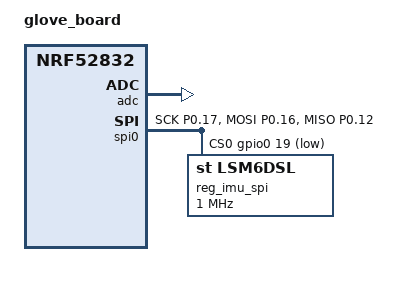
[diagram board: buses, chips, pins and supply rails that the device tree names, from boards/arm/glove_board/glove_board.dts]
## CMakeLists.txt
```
cmake_minimum_required(VERSION 3.20.0)
find_package(Zephyr REQUIRED HINTS $ENV{ZEPHYR_BASE})

project(sensor_code)

target_include_directories(app PRIVATE inc)
target_sources(app PRIVATE src/main.c src/ble.c src/imu.c src/adc.c)
```

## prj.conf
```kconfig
CONFIG_HEAP_MEM_POOL_SIZE=2048

CONFIG_BT=y
CONFIG_BT_SMP=y
CONFIG_BT_NUS=y
CONFIG_BT_PERIPHERAL=y
CONFIG_BT_DEVICE_NAME="gloves"
CONFIG_BT_DEVICE_APPEARANCE=833
CONFIG_BT_MAX_CONN=2
CONFIG_BT_MAX_PAIRED=2
CONFIG_BT_GATT_CLIENT=y
CONFIG_BT_GATT_DM=y

# CONFIG_BT_BUF_ACL_RX_SIZE = 64
# CONFIG_BT_BUF_ACL_TX_SIZE = 64
# CONFIG_BT_L2CAP_TX_MTU = 60

# This example requires more stack
CONFIG_SYSTEM_WORKQUEUE_STACK_SIZE=2048
CONFIG_MAIN_STACK_SIZE=1536

# Enable bonding
# CONFIG_BT_SETTINGS=y
# CONFIG_FLASH=y
# CONFIG_FLASH_PAGE_LAYOUT=y
# CONFIG_FLASH_MAP=y
# CONFIG_NVS=y
# CONFIG_SETTINGS=y

CONFIG_ASSERT=y

CONFIG_CLOCK_CONTROL_NRF_K32SRC_SYNTH=y

CONFIG_BT_USER_DATA_LEN_UPDATE=y
CONFIG_BT_USER_PHY_UPDATE=y
CONFIG_BT_GAP_AUTO_UPDATE_CONN_PARAMS=n

CONFIG_BT_BUF_ACL_RX_SIZE=502
CONFIG_BT_ATT_PREPARE_COUNT=2
CONFIG_BT_L2CAP_TX_BUF_COUNT=10
CONFIG_BT_L2CAP_TX_MTU=498
CONFIG_BT_L2CAP_DYNAMIC_CHANNEL=y
CONFIG_BT_CONN_TX_MAX=10
CONFIG_BT_BUF_ACL_TX_COUNT=10
CONFIG_BT_BUF_ACL_TX_SIZE=502

CONFIG_BT_CTLR_DATA_LENGTH_MAX=251
CONFIG_BT_CTLR_PHY_2M=y
CONFIG_BT_CTLR_PHY_CODED=y
CONFIG_BT_CTLR_SDC_MAX_CONN_EVENT_LEN_DEFAULT=4000000

# SPI
CONFIG_SPI=y

CONFIG_NRFX_GPIOTE0=y
CONFIG_NRFX_SAADC=y
```

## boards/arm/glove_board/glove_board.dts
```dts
// Copyright (c) 2024 Nordic Semiconductor ASA
// SPDX-License-Identifier: Apache-2.0

/dts-v1/;
#include <nordic/nrf52832_qfaa.dtsi>
#include <zephyr/dt-bindings/input/input-event-codes.h>

// Pin Mappings
&pinctrl {
    spi0_default: spi0_default {
        group1 {
            psels = <NRF_PSEL(SPIM_SCK, 0, 17)>,
                    <NRF_PSEL(SPIM_MOSI, 0, 16)>,
                    <NRF_PSEL(SPIM_MISO, 0, 12)>;
        };
    };

    spi0_sleep: spi0_sleep {
        group1 {
            psels = <NRF_PSEL(SPIM_SCK, 0, 17)>,
                    <NRF_PSEL(SPIM_MOSI, 0, 16)>,
                    <NRF_PSEL(SPIM_MISO, 0, 12)>;
            low-power-enable;
        };
    };
};

// Other configurations

/ {
	model = "glove_board";
	compatible = "block,glove-board";

	chosen {
		zephyr,sram = &sram0;
		zephyr,flash = &flash0;
		zephyr,code-partition = &slot0_partition;
	};
};

&adc {
	status = "okay";
};

&uicr {
	gpio-as-nreset;
};

&gpiote {
	status = "okay";
};

&gpio0 {
	status = "okay";
};

&flash0 {
	partitions {
		compatible = "fixed-partitions";
		#address-cells = <1>;
		#size-cells = <1>;

		boot_partition: partition@0 {
			label = "mcuboot";
			reg = <0x0 0xc000>;
		};
		slot0_partition: partition@c000 {
			label = "image-0";
			reg = <0xc000 0x32000>;
		};
		slot1_partition: partition@3e000 {
			label = "image-1";
			reg = <0x3e000 0x32000>;
		};
		scratch_partition: partition@70000 {
			label = "image-scratch";
			reg = <0x70000 0xa000>;
		};
		storage_partition: partition@7a000 {
			label = "storage";
			reg = <0x7a000 0x6000>;
		};
	};
};

imu_spi: &spi0 {
    compatible = "nordic,nrf-spi";
    status = "okay";
    pinctrl-0 = <&spi0_default>;
    pinctrl-1 = <&spi0_sleep>;
	pinctrl-names = "default", "sleep";
    cs-gpios = <&gpio0 19 GPIO_ACTIVE_LOW>;
    reg_imu_spi: spi-dev-a@0 {
        compatible = "st,lsm6dsl"; // We actually use the lsm6dsr, but I think this should be fine.
		reg = <0>;
		spi-max-frequency = <1000000>;
    };
};
```

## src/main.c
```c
#include <zephyr/kernel.h>

#include "ble.h"
#include "imu.h"
#include "adc.h"

#define SAMPLES_PER_PKT 4
static uint16_t pkt_id = 0;
static size_t sample_cnt = 0;

static ble_data_t data[SAMPLES_PER_PKT];

void app_loop(struct k_work *work)
{
    ARG_UNUSED(work);

    // Update the readings
    imu_get(&data[sample_cnt].imu_data);
    read_force_sensors(&data[sample_cnt].force_data);

    data[sample_cnt].pkt_id = pkt_id++;
    sample_cnt++;

    if(sample_cnt >= SAMPLES_PER_PKT) {
        sample_cnt = 0;

        // Wait for the previous message to finish sending
        // ble_wait_for_tx_completion();
        if (ble_is_sending_data())
            return;

        ble_send_data(&data, SAMPLES_PER_PKT);
    }
}
K_WORK_DEFINE(app, app_loop);

void timer_handler(struct k_timer *unused)
{
    ARG_UNUSED(unused);
    k_work_submit(&app);
}
K_TIMER_DEFINE(app_timer, timer_handler, NULL);

int main(void)
{
    // Set up the ADC, IMU, and BLE modules, in that order
    adc_init();
    imu_init();
    ble_init();

    // Start the periodic timer
    k_timer_start(&app_timer, K_SECONDS(0), K_MSEC(100));

    return 0;
}
```

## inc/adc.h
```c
/**
 * @file adc.h
 * @author Charles Block (coblock2@illinois.edu)
 * @brief The ADC driver handles all aspects of reading the raw values from the force sensors.
 * @version 0.1
 *
 * @copyright Copyright (c) 2024
 *
 */
#pragma once

#include <stdint.h>

// Specify valid sensors to be read from. The total number of valid
// force sensors is given by NUM_FORCE_SENSORS
typedef enum sensor_position
{
    THUMB_SENSOR = 7,
    INDEX_SENSOR = 0,
    MIDDLE_SENSOR = 1,
    RING_SENSOR = 2,
    // LITTLE_SENSOR, // Currently unused
    PALM1_SENSOR = 5,
    PALM2_SENSOR = 6,
} sensor_position_t;

#define NUM_FORCE_SENSORS 6



// The force sensor measurements
typedef struct force_data {
    uint16_t thumb_sensor;
    uint16_t index_sensor;
    uint16_t middle_sensor;
    uint16_t ring_sensor;
    uint16_t palm1_sensor;
    uint16_t palm2_sensor;
} force_data_t;

/**
 * Initialize the ADC
 */
void adc_init();

/**
 * Read the value of a force sensor at a given position
 *
 * @param pos The position of the sensor to read from
 */
void read_force_sensors(force_data_t *data);
```

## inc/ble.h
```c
/**
 * @file ble.h
 * @author Charles Block (coblock2@illinois.edu)
 * @brief The BLE driver handles all aspects of transmission/reception over the bluetooth radio
 * @version 0.1
 *
 * @copyright Copyright (c) 2024
 *
 */
#pragma once

#include <stdint.h>
#include "imu.h"
#include "adc.h"

typedef struct ble_data
{
    // To indicate whether we've been dropping packets or not
    uint16_t pkt_id;

    // The force measurements
    force_data_t force_data;

    // The IMU measurements
    imu_data_t imu_data;
} ble_data_t;

/**
 * Initialize the BLE radio.
 */
void ble_init();

/**
 * Send a packet of data over the BLE radio.
 *
 * @param data Specification of the data packet to send
 */
void ble_send_data(ble_data_t *data, size_t sample_cnt);

bool ble_is_sending_data();

/**
 * Wait for the current message to finish sending over BLE.
 */
void ble_wait_for_tx_completion();
```

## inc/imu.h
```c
/**
 * @file imu.h
 * @author Charles Block (coblock2@illinois.edu)
 * @brief The IMU driver handles all aspects of configuring and reading data from the on-board IMU
 * @version 0.1
 *
 * @copyright Copyright (c) 2024
 *
 */
#pragma once

#include <stdio.h>

typedef struct imu_data
{
    // Temperature data
    uint16_t temp;

    // Gyro data
    uint16_t gyro_x;
    uint16_t gyro_y;
    uint16_t gyro_z;

    // Accelerometer data
    uint16_t accel_x;
    uint16_t accel_y;
    uint16_t accel_z;
} imu_data_t;

/**
 * Initialize the IMU
 */
void imu_init();

/**
 * Get the current data values from the IMU
 *
 * @param rdata A pointer to a data structure to store the results in
 */
void imu_get(imu_data_t *rdata);
```

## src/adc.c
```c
#include "adc.h"

#include <nrfx_saadc.h>

#define ANALOG_INPUT_TO_SAADC_AIN(x) ((x) + 1)

#define ANALOG_INPUT_A0 0
#define ANALOG_INPUT_A1 1
#define ANALOG_INPUT_A2 2
#define ANALOG_INPUT_A3 3
#define ANALOG_INPUT_A4 4
#define ANALOG_INPUT_A5 5

#define CH0_AIN ANALOG_INPUT_TO_SAADC_AIN(ANALOG_INPUT_A0)
#define CH1_AIN ANALOG_INPUT_TO_SAADC_AIN(ANALOG_INPUT_A1)
#define CH2_AIN ANALOG_INPUT_TO_SAADC_AIN(ANALOG_INPUT_A2)
#define CH3_AIN ANALOG_INPUT_TO_SAADC_AIN(ANALOG_INPUT_A3)
#define CH4_AIN ANALOG_INPUT_TO_SAADC_AIN(ANALOG_INPUT_A4)
#define CH5_AIN ANALOG_INPUT_TO_SAADC_AIN(ANALOG_INPUT_A5)

static const nrfx_saadc_channel_t m_multiple_channels[] = {
    NRFX_SAADC_DEFAULT_CHANNEL_SE(ANALOG_INPUT_TO_SAADC_AIN(THUMB_SENSOR), 0),
    NRFX_SAADC_DEFAULT_CHANNEL_SE(ANALOG_INPUT_TO_SAADC_AIN(INDEX_SENSOR), 1),
    NRFX_SAADC_DEFAULT_CHANNEL_SE(ANALOG_INPUT_TO_SAADC_AIN(MIDDLE_SENSOR), 2),
    NRFX_SAADC_DEFAULT_CHANNEL_SE(ANALOG_INPUT_TO_SAADC_AIN(RING_SENSOR), 3),
    NRFX_SAADC_DEFAULT_CHANNEL_SE(ANALOG_INPUT_TO_SAADC_AIN(PALM1_SENSOR), 4),
    NRFX_SAADC_DEFAULT_CHANNEL_SE(ANALOG_INPUT_TO_SAADC_AIN(PALM2_SENSOR), 5),
};

#define CHANNEL_COUNT NRFX_ARRAY_SIZE(m_multiple_channels)

// #define RESOLUTION NRF_SAADC_RESOLUTION_8BIT
#define RESOLUTION NRF_SAADC_RESOLUTION_14BIT

#if (NRF_SAADC_8BIT_SAMPLE_WIDTH == 8) && (RESOLUTION == NRF_SAADC_RESOLUTION_8BIT)
static uint8_t m_samples_buffer[CHANNEL_COUNT];
#else
static uint16_t m_samples_buffer[CHANNEL_COUNT];
#endif

static bool m_saadc_ready = false;

/**
 * Initialize the ADC
 */
void adc_init()
{
    nrfx_err_t status;
    (void)status;

    m_saadc_ready = false;

    status = nrfx_saadc_init(NRFX_SAADC_DEFAULT_CONFIG_IRQ_PRIORITY);
    NRFX_ASSERT(status == NRFX_SUCCESS);

    status = nrfx_saadc_channels_config(m_multiple_channels, CHANNEL_COUNT);
    NRFX_ASSERT(status == NRFX_SUCCESS);

    uint32_t channels_mask = nrfx_saadc_channels_configured_get();
    status = nrfx_saadc_simple_mode_set(channels_mask,
                                        RESOLUTION,
                                        NRF_SAADC_OVERSAMPLE_DISABLED,
                                        NULL);

    status = nrfx_saadc_buffer_set(m_samples_buffer, CHANNEL_COUNT);
    NRFX_ASSERT(status == NRFX_SUCCESS);

    status = nrfx_saadc_offset_calibrate(NULL);
    NRFX_ASSERT(status == NRFX_SUCCESS);

    m_saadc_ready = true;
}

/**
 * Read the value of a force sensor at a given position
 *
 * @param pos The position of the sensor to read from
 */
void read_force_sensors(force_data_t *data)
{
    nrfx_err_t status;

    NRFX_ASSERT(m_saadc_ready == true);

    status = nrfx_saadc_mode_trigger();
    NRFX_ASSERT(status == NRFX_SUCCESS);

    for (int i = 0; i < CHANNEL_COUNT; i++)
    {
        uint16_t sample = NRFX_SAADC_SAMPLE_GET(RESOLUTION, m_samples_buffer, i);

        if (i < sizeof(force_data_t) / sizeof(uint16_t))
            ((uint16_t *)data)[i] = sample;
    }
}
```

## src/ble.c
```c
#include <zephyr/bluetooth/bluetooth.h>

#include <zephyr/bluetooth/bluetooth.h>
#include <zephyr/bluetooth/uuid.h>
#include <zephyr/bluetooth/gatt.h>
#include <zephyr/bluetooth/hci.h>
#include <bluetooth/services/nus.h>
#include <zephyr/logging/log.h>
#include <shell/shell_bt_nus.h>
#include <stdio.h>
#include <bluetooth/services/nus.h>

#include "ble.h"

#define NUS_WRITE_TIMEOUT K_MSEC(150)

#define DEVICE_NAME CONFIG_BT_DEVICE_NAME
#define DEVICE_NAME_LEN (sizeof(DEVICE_NAME) - 1)

static const struct bt_data ad[] = {
    BT_DATA_BYTES(BT_DATA_FLAGS, (BT_LE_AD_GENERAL | BT_LE_AD_NO_BREDR)),
    BT_DATA(BT_DATA_NAME_COMPLETE, DEVICE_NAME, DEVICE_NAME_LEN),
};

static const struct bt_data sd[] = {
    BT_DATA_BYTES(BT_DATA_UUID128_ALL, BT_UUID_NUS_VAL),
};

K_SEM_DEFINE(nus_write_sem, 1, 1);

static bool sending_data = false;

/**
 * @brief Callback for when a bluetooth send operation is completed.
 *
 * @param nus
 * @param err
 * @param data
 * @param len
 */
static void ble_data_sent(struct bt_conn *conn)
{
    ARG_UNUSED(conn);

    sending_data = false;
    k_sem_give(&nus_write_sem);
}

/**
 * @brief Callback for when we receive bluetooth data. Currently unused.
 *
 * @param nus
 * @param data
 * @param len
 * @return uint8_t
 */
static void ble_data_received(struct bt_conn *conn,
                                 const uint8_t *data, uint16_t len)
{
    ARG_UNUSED(conn);
    ARG_UNUSED(data);
    ARG_UNUSED(len);
}

static int nus_init(void)
{
    int err;
    struct bt_nus_cb init = {
        .received = ble_data_received,
        .sent = ble_data_sent,
    };

    err = bt_nus_init(&init);
    if (err)
    {
        return err;
    }

    return err;
}

static void connected(struct bt_conn *conn, uint8_t conn_err)
{
}

static void disconnected(struct bt_conn *conn, uint8_t reason)
{
}

BT_CONN_CB_DEFINE(conn_callbacks) = {
    .connected = connected,
    .disconnected = disconnected,
};

static void pairing_complete(struct bt_conn *conn, bool bonded)
{
}

static void pairing_failed(struct bt_conn *conn, enum bt_security_err reason)
{
}

static struct bt_conn_auth_info_cb conn_auth_info_callbacks = {
    .pairing_complete = pairing_complete,
    .pairing_failed = pairing_failed,
};

/**
 * Initialize the BLE radio.
 */
void ble_init()
{
    int err;

    // Initialize the ble connection callbacks
    err = bt_conn_auth_info_cb_register(&conn_auth_info_callbacks);
    if (err)
    {
        return;
    }

    // Enable the bluetooth radio
    err = bt_enable(NULL);
    if (err)
    {
        return;
    }

    err = nus_init();
    if (err != 0)
    {
        return;
    }

    err = bt_le_adv_start(BT_LE_ADV_CONN, ad, ARRAY_SIZE(ad), sd,
                          ARRAY_SIZE(sd));
    if (err)
    {
        return;
    }
}

/**
 * Send a packet of data over the BLE radio.
 *
 * @param data Specification of the data packet to send
 */
void ble_send_data(ble_data_t *data, size_t sample_cnt)
{
    int err;

    // Take the semaphore to indicate that we're sending data.
    // The callback will give it back when tx is done.
    err = k_sem_take(&nus_write_sem, NUS_WRITE_TIMEOUT);

    sending_data = true;

    // Send the data
    err = bt_nus_send(NULL, (uint8_t *)data, sizeof(ble_data_t) * sample_cnt);
    if (err)
    {   
        sending_data = false;
        k_sem_give(&nus_write_sem);
    }
}

bool ble_is_sending_data()
{
    return sending_data;
}

/**
 * Wait for the current message to finish sending over BLE.
 */
void ble_wait_for_tx_completion()
{
    if (!sending_data)
    {
        // There's no send ongoing, so we can exit this before we
        // waste time with semaphores.
        return;
    }

    // Take the semaphore and then release it to synchronize
    // with the sending process.
    k_sem_take(&nus_write_sem, K_FOREVER);
    k_sem_give(&nus_write_sem);
}
```

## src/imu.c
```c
#include "imu.h"

#include <zephyr/kernel.h>
#include <zephyr/device.h>
#include <zephyr/devicetree.h>
#include <zephyr/drivers/gpio.h>
#include <zephyr/drivers/spi.h>

// Define the register mapping of the device
#define REG_FUNC_CFG_ACCESS 0x01
#define REG_PIN_CTRL 0x02
#define REG_S4S_TPH_L 0x04
#define REG_S4S_TPH_H 0x05
#define REG_S4S_RR 0x06
#define REG_FIFO_CTRL1 0x07
#define REG_FIFO_CTRL2 0x08
#define REG_FIFO_CTRL3 0x09
#define REG_FIFO_CTRL4 0x0A
#define REG_COUNTER_BDR_REG1 0x0B
#define REG_COUNTER_BDR_REG2 0x0C
#define REG_INT1_CTRL 0x0D
#define REG_INT2_CTRL 0x0E
#define REG_WHO_AM_I 0x0F
#define REG_CTRL1_XL 0x10
#define REG_CTRL2_G 0x11
#define REG_CTRL3_C 0x12
#define REG_CTRL4_C 0x13
#define REG_CTRL5_C 0x14
#define REG_CTRL6_C 0x15
#define REG_CTRL7_G 0x16
#define REG_CTRL8_XL 0x17
#define REG_CTRL9_XL 0x18
#define REG_CTRL10_C 0x19
#define REG_ALL_INT_SRC 0x1A
#define REG_WAKE_UP_SRC 0x1B
#define REG_TAP_SRC 0x1C
#define REG_D6D_SRC 0x1D
#define REG_STATUS_REG 0x1E
#define REG_OUT_TEMP_L 0x20
#define REG_OUT_TEMP_H 0x21
#define REG_OUTX_L_G 0x22
#define REG_OUTX_H_G 0x23
#define REG_OUTY_L_G 0x24
#define REG_OUTY_H_G 0x25
#define REG_OUTZ_L_G 0x26
#define REG_OUTZ_H_G 0x27
#define REG_OUTX_L_A 0x28
#define REG_OUTX_H_A 0x29
#define REG_OUTY_L_A 0x2A
#define REG_OUTY_H_A 0x2B
#define REG_OUTZ_L_A 0x2C
#define REG_OUTZ_H_A 0x2D
#define REG_EMB_FUNC_STATUS_MAINPAGE 0x35
#define REG_FSM_STATUS_A_MAINPAGE 0x36
#define REG_FSM_STATUS_B_MAINPAGE 0x37
#define REG_STATUS_MASTER_MAINPAGE 0x39
#define REG_FIFO_STATUS1 0x3A
#define REG_FIFO_STATUS2 0x3B
#define REG_TIMESTAMP0 0x40
#define REG_TIMESTAMP1 0x41
#define REG_TIMESTAMP2 0x42
#define REG_TIMESTAMP3 0x43
#define REG_TAP_CFG0 0x56
#define REG_TAP_CFG1 0x57
#define REG_TAP_CFG2 0x58
#define REG_TAP_THS_6D 0x59
#define REG_INT_DUR2 0x5A
#define REG_WAKE_UP_THS 0x5B
#define REG_WAKE_UP_DUR 0x5C
#define REG_FREE_FALL 0x5D
#define REG_MD1_CFG 0x5E
#define REG_MD2_CFG 0x5F
#define REG_S4S_ST_CMD_CODE 0x60
#define REG_S4S_DT_REG 0x61
#define REG_I3C_BUS_AVB 0x62
#define REG_INTERNAL_FREQ_FINE 0x63
#define REG_INT_OIS 0x6F
#define REG_CTRL1_OIS 0x70
#define REG_CTRL2_OIS 0x71
#define REG_CTRL3_OIS 0x72
#define REG_X_OFS_USR 0x73
#define REG_Y_OFS_USR 0x74
#define REG_Z_OFS_USR 0x75
#define REG_FIFO_DATA_OUT_TAG 0x78
#define REG_FIFO_DATA_OUT_X_L 0x79
#define REG_FIFO_DATA_OUT_X_H 0x7A
#define REG_FIFO_DATA_OUT_Y_L 0x7B
#define REG_FIFO_DATA_OUT_Y_H 0x7C
#define REG_FIFO_DATA_OUT_Z_L 0x7D
#define REG_FIFO_DATA_OUT_Z_H 0x7E

#define IMU_SPI DT_NODELABEL(imu_spi)

// SPI master functionality
const struct device *spi_dev;

static const struct spi_cs_control spim_cs = {
    .gpio = SPI_CS_GPIOS_DT_SPEC_GET(DT_NODELABEL(reg_imu_spi)),
    .delay = 0,
};

static const struct spi_config spi_cfg = {
    .operation = SPI_WORD_SET(8) | SPI_TRANSFER_MSB |
                 SPI_MODE_CPOL | SPI_MODE_CPHA,
    .frequency = 4000000,
    .slave = 0,
    .cs = spim_cs,
};

void write_register(uint8_t addr, uint8_t data)
{
    // Arrange the data
    uint8_t b[] = {addr & ~(1 << 7), data};
    struct spi_buf tx_buf = {.buf = b, .len = 2};
    struct spi_buf_set tx_bufs = {.buffers = &tx_buf, .count = 1};

    // Write
    spi_write(spi_dev, &spi_cfg, &tx_bufs);
}

uint8_t read_register(uint8_t addr)
{
    // Set up the tx and rx buffers
    uint8_t t[] = {addr | (1 << 7), 0x00};
    struct spi_buf tx_buf = {.buf = t, .len = 2};
    struct spi_buf_set tx_bufs = {.buffers = &tx_buf, .count = 1};

    uint8_t r[] = {0x00, 0x00};
    struct spi_buf rx_buf = {.buf = r, .len = 2};
    struct spi_buf_set rx_bufs = {.buffers = &rx_buf, .count = 1};

    // Perform the read
    spi_transceive(spi_dev, &spi_cfg, &tx_bufs, &rx_bufs);

    return r[1];
}

/**
 * Initialize the IMU
 */
void imu_init()
{
    spi_dev = DEVICE_DT_GET(IMU_SPI);

    if (!device_is_ready(spi_dev))
    {
        return;
    }
    if (!device_is_ready(spim_cs.gpio.port))
    {
        return;
    }

    // Configure the IMU to begin taking measurements

    // Set the accelerometer to 52Hz, 8g scale
    write_register(REG_CTRL1_XL, (0x3 << 4) | (0x3 << 2));

    // Set gyro to 52Hz, 250dps scale
    write_register(REG_CTRL2_G, (0x3 << 4) | (0x0 << 2));
}

/**
 * Get the current data values from the IMU
 *
 * @param rdata A pointer to a data structure to store the results in
 */
void imu_get(imu_data_t *rdata)
{
    rdata->temp = ((uint16_t)read_register(REG_OUT_TEMP_H) << 8) | read_register(REG_OUT_TEMP_L);

    rdata->accel_x = ((uint16_t)read_register(REG_OUTX_H_A) << 8) | read_register(REG_OUTX_L_A);
    rdata->accel_y = ((uint16_t)read_register(REG_OUTY_H_A) << 8) | read_register(REG_OUTY_L_A);
    rdata->accel_z = ((uint16_t)read_register(REG_OUTZ_H_A) << 8) | read_register(REG_OUTZ_L_A);

    rdata->gyro_x = ((uint16_t)read_register(REG_OUTX_H_G) << 8) | read_register(REG_OUTX_L_G);
    rdata->gyro_y = ((uint16_t)read_register(REG_OUTY_H_G) << 8) | read_register(REG_OUTY_L_G);
    rdata->gyro_z = ((uint16_t)read_register(REG_OUTZ_H_G) << 8) | read_register(REG_OUTZ_L_G);
}
```
